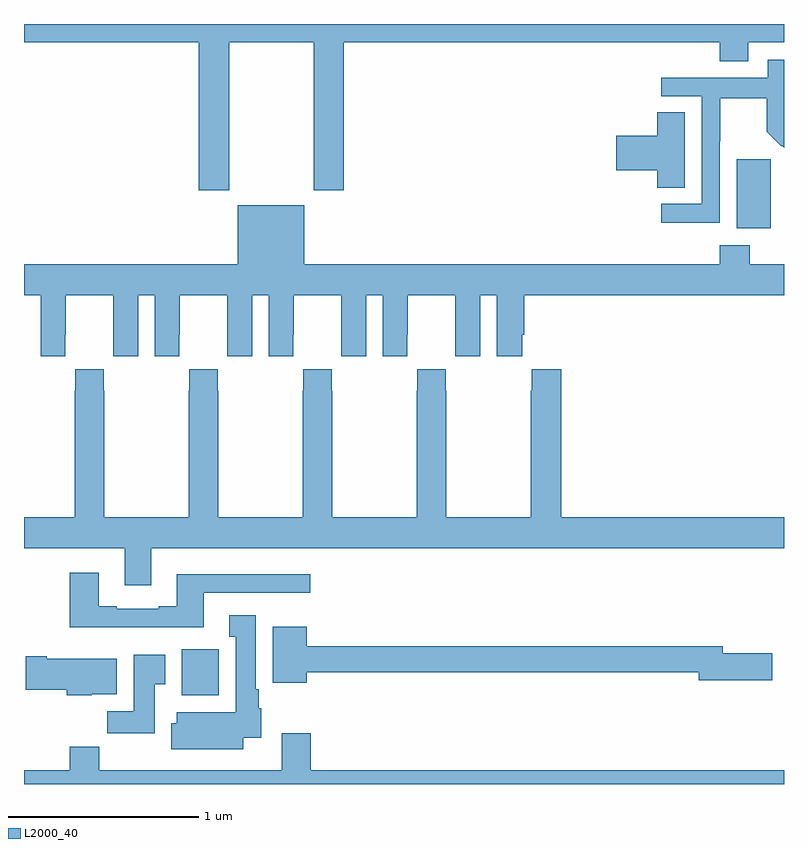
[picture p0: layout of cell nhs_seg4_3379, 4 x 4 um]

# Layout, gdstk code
import gdstk
lib = gdstk.Library(unit=1e-6, precision=1e-09)
def R(c, l, rs):  # rectangles x0, y0, x1, y1
    for r in rs: c.add(gdstk.rectangle(r[:2], r[2:], *l))
def P(c, l, *ps):  # polygons
    for p in ps: c.add(gdstk.Polygon(p, *l))
L2000_40 = (2000, 40)

nhs_seg4_3379 = lib.new_cell('nhs_seg4_3379')
R(nhs_seg4_3379, L2000_40, [(289.829,809.366,290.026,809.608), (292.751,811.826,292.93,812.187)])
P(nhs_seg4_3379, L2000_40, [(290.079,812.804),(290.524,812.804),(290.524,812.025),(290.684,812.025),(290.684,812.804),(292.661,812.804),(292.661,812.705),(292.813,812.705),(292.813,812.804),(293,812.804),(293,812.9),(289,812.9),(289,812.804),(289.919,812.804),(289.919,812.025),(290.079,812.025)],
  [(292.662,812.284),(292.665,812.284),(292.665,812.508),(292.909,812.508),(292.909,812.333),(292.986,812.256),(292.989,812.259),(293,812.248),(293,812.713),(292.914,812.713),(292.914,812.616),(292.353,812.616),(292.353,812.52),(292.566,812.52),(292.566,811.953),(292.353,811.953),(292.353,811.855),(292.662,811.855)],
  [(292.477,812.435),(292.334,812.435),(292.334,812.312),(292.116,812.312),(292.116,812.129),(292.334,812.129),(292.334,812.038),(292.477,812.038)],
  [(289.218,811.264),(289.219,811.264),(289.219,811.472),(289.469,811.472),(289.469,811.264),(289.47,811.264),(289.47,811.152),(289.6,811.152),(289.6,811.472),(289.688,811.472),(289.688,811.152),(289.818,811.152),(289.818,811.264),(289.819,811.264),(289.819,811.472),(290.069,811.472),(290.069,811.264),(290.07,811.264),(290.07,811.152),(290.2,811.152),(290.2,811.472),(290.288,811.472),(290.288,811.152),(290.418,811.152),(290.418,811.264),(290.419,811.264),(290.419,811.472),(290.669,811.472),(290.669,811.264),(290.67,811.264),(290.67,811.152),(290.8,811.152),(290.8,811.472),(290.888,811.472),(290.888,811.152),(291.018,811.152),(291.018,811.264),(291.019,811.264),(291.019,811.472),(291.269,811.472),(291.269,811.264),(291.27,811.264),(291.27,811.152),(291.4,811.152),(291.4,811.472),(291.488,811.472),(291.488,811.152),(291.622,811.152),(291.622,811.264),(291.632,811.264),(291.632,811.472),(293,811.472),(293,811.636),(292.821,811.636),(292.821,811.735),(292.661,811.735),(292.661,811.636),(290.476,811.636),(290.476,811.945),(290.126,811.945),(290.126,811.636),(289,811.636),(289,811.472),(289.088,811.472),(289.088,811.152),(289.218,811.152)],
  [(289.669,810.14),(293,810.14),(293,810.304),(291.827,810.304),(291.827,811.084),(291.673,811.084),(291.673,810.971),(291.667,810.971),(291.667,810.304),(291.222,810.304),(291.222,810.971),(291.219,810.971),(291.219,811.084),(291.069,811.084),(291.069,810.971),(291.067,810.971),(291.067,810.304),(290.622,810.304),(290.622,810.971),(290.619,810.971),(290.619,811.084),(290.469,811.084),(290.469,810.971),(290.467,810.971),(290.467,810.304),(290.022,810.304),(290.022,810.971),(290.019,810.971),(290.019,811.084),(289.869,811.084),(289.869,810.971),(289.867,810.971),(289.867,810.304),(289.422,810.304),(289.422,810.971),(289.419,810.971),(289.419,811.084),(289.269,811.084),(289.269,810.971),(289.267,810.971),(289.267,810.304),(289,810.304),(289,810.14),(289.529,810.14),(289.529,809.946),(289.669,809.946)],
  [(289.945,809.907),(290.506,809.907),(290.506,810.004),(289.805,810.004),(289.805,809.836),(289.709,809.836),(289.709,809.823),(289.489,809.823),(289.489,809.836),(289.393,809.836),(289.393,810.013),(289.241,810.013),(289.241,809.726),(289.945,809.726)],
  [(290.155,809.144),(290.248,809.144),(290.248,809.298),(290.236,809.298),(290.236,809.398),(290.221,809.398),(290.221,809.788),(290.081,809.788),(290.081,809.675),(290.114,809.675),(290.114,809.278),(289.805,809.278),(289.805,809.219),(289.775,809.219),(289.775,809.084),(290.155,809.084)],
  [(290.488,809.488),(292.55,809.488),(292.55,809.446),(292.939,809.446),(292.939,809.588),(292.678,809.588),(292.678,809.624),(290.488,809.624),(290.488,809.728),(290.309,809.728),(290.309,809.432),(290.488,809.432)],
  [(289.687,809.425),(289.744,809.425),(289.744,809.581),(289.577,809.581),(289.577,809.284),(289.438,809.284),(289.438,809.166),(289.687,809.166)],
  [(289.356,809.372),(289.489,809.372),(289.489,809.56),(289.12,809.56),(289.12,809.573),(289.008,809.573),(289.008,809.395),(289.226,809.395),(289.226,809.366),(289.356,809.366)],
  [(289.397,809.096),(289.241,809.096),(289.241,808.972),(289,808.972),(289,808.9),(293,808.9),(293,808.972),(290.51,808.972),(290.51,809.167),(290.357,809.167),(290.357,808.972),(289.397,808.972)])

lib.write_gds('nhs_seg4_3379.gds')
